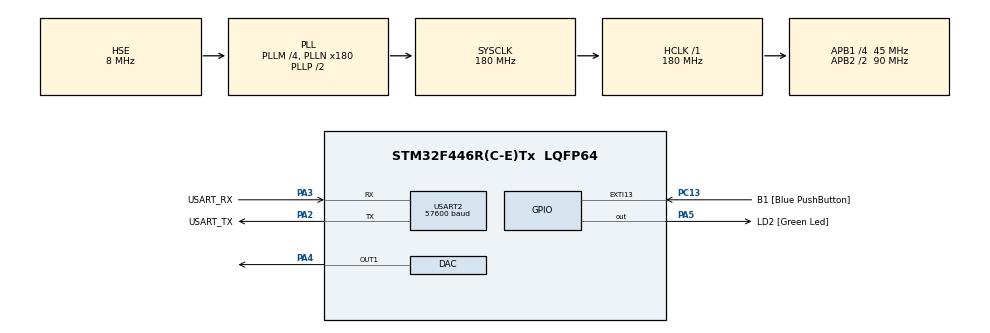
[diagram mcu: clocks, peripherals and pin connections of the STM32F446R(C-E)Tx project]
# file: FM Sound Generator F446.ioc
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DAC.DAC_OutputBuffer=DAC_OUTPUTBUFFER_DISABLE
DAC.DAC_Trigger=DAC_TRIGGER_T2_TRGO
Dma.DAC1.0.Direction=DMA_MEMORY_TO_PERIPH
Dma.DAC1.0.FIFOMode=DMA_FIFOMODE_DISABLE
Dma.DAC1.0.Instance=DMA1_Stream5
Dma.DAC1.0.MemDataAlignment=DMA_MDATAALIGN_HALFWORD
Dma.DAC1.0.MemInc=DMA_MINC_ENABLE
Dma.DAC1.0.Mode=DMA_CIRCULAR
Dma.DAC1.0.PeriphDataAlignment=DMA_PDATAALIGN_HALFWORD
Dma.DAC1.0.PeriphInc=DMA_PINC_DISABLE
Dma.DAC1.0.Priority=DMA_PRIORITY_HIGH
Dma.Request0=DAC1
Mcu.Family=STM32F4
Mcu.Name=STM32F446R(C-E)Tx
Mcu.Package=LQFP64
NVIC.DMA1_Stream5_IRQn=true\:0\:0\:false\:false\:true\:false\:true
NVIC.PriorityGroup=NVIC_PRIORITYGROUP_1
NVIC.TIM2_IRQn=true\:1\:0\:true\:false\:true\:true\:true
NVIC.TIM3_IRQn=true\:0\:0\:false\:false\:true\:true\:true
PA13.GPIO_Label=TMS
PA13.Mode=Serial_Wire
PA13.Signal=SYS_JTMS-SWDIO
PA14.GPIO_Label=TCK
PA14.Mode=Serial_Wire
PA14.Signal=SYS_JTCK-SWCLK
PA2.GPIO_Label=USART_TX
PA2.Mode=Asynchronous
PA2.Signal=USART2_TX
PA3.GPIO_Label=USART_RX
PA3.Mode=Asynchronous
PA3.Signal=USART2_RX
PA4.Signal=COMP_DAC1_group
PA5.GPIO_Label=LD2 [Green Led]
PA5.Signal=GPIO_Output
PB3.GPIO_Label=SWO
PB3.Signal=SYS_JTDO-SWO
PC13.GPIO_Label=B1 [Blue PushButton]
PC13.GPIO_ModeDefaultEXTI=GPIO_MODE_IT_FALLING
PC13.Signal=GPXTI13
PC14-OSC32_IN.Mode=LSE-External-Oscillator
PC14-OSC32_IN.Signal=RCC_OSC32_IN
PC15-OSC32_OUT.Mode=LSE-External-Oscillator
PC15-OSC32_OUT.Signal=RCC_OSC32_OUT
PH0-OSC_IN.Mode=HSE-External-Clock-Source
PH0-OSC_IN.Signal=RCC_OSC_IN
PH1-OSC_OUT.Mode=HSE-External-Clock-Source
PH1-OSC_OUT.Signal=RCC_OSC_OUT
ProjectManager.HeapSize=0x200
ProjectManager.StackSize=0x400
ProjectManager.TargetToolchain=STM32CubeIDE
RCC.48MHZClocksFreq_Value=84000000
RCC.AHBFreq_Value=180000000
RCC.APB1CLKDivider=RCC_HCLK_DIV4
RCC.APB1Freq_Value=45000000
RCC.APB1TimFreq_Value=90000000
RCC.APB2CLKDivider=RCC_HCLK_DIV2
RCC.APB2Freq_Value=90000000
RCC.APB2TimFreq_Value=180000000
RCC.CortexFreq_Value=180000000
RCC.FLatency-AdvancedSettings=FLASH_LATENCY_5
RCC.HCLKFreq_Value=180000000
RCC.HSE_VALUE=8000000
RCC.HSI_VALUE=16000000
RCC.PLLM=4
RCC.PLLN=180
RCC.PLLSourceVirtual=RCC_PLLSOURCE_HSE
RCC.SYSCLKFreq_VALUE=180000000
RCC.SYSCLKSource=RCC_SYSCLKSOURCE_PLLCLK
RCC.USBFreq_Value=180000000
RCC.VCOOutputFreq_Value=360000000
SH.COMP_DAC1_group.0=DAC_OUT1,DAC_OUT1
TIM2.AutoReloadPreload=TIM_AUTORELOAD_PRELOAD_ENABLE
TIM2.Period=50-1
TIM2.Prescaler=90-1
TIM2.TIM_MasterOutputTrigger=TIM_TRGO_UPDATE
TIM3.AutoReloadPreload=TIM_AUTORELOAD_PRELOAD_ENABLE
TIM3.Period=0xFFFF-1
TIM3.Prescaler=90-1
USART2.BaudRate=57600
USART2.VirtualMode=VM_ASYNC
VP_TIM2_VS_ClockSourceINT.Mode=Internal
VP_TIM3_VS_ClockSourceINT.Mode=Internal
board=NUCLEO-F446RE

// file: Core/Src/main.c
/* USER CODE BEGIN Header */
/**
  ******************************************************************************
  * @file           : main.c
  * @brief          : Main program body
  ******************************************************************************
  * @attention
  *
  * <h2><center>&copy; Copyright (c) 2020 STMicroelectronics.
  * All rights reserved.</center></h2>
  *
  * This software component is licensed by ST under BSD 3-Clause license,
  * the "License"; You may not use this file except in compliance with the
  * License. You may obtain a copy of the License at:
  *                        opensource.org/licenses/BSD-3-Clause
  *
  ******************************************************************************
  */
/* USER CODE END Header */

#include "main.h"

/* USER CODE BEGIN Includes */
#include <stdio.h>
#include <math.h>
#include "fm_algorism.h"
#include "com_command.h"

/* USER CODE END Includes */

DAC_HandleTypeDef hdac;
DMA_HandleTypeDef hdma_dac1;

TIM_HandleTypeDef htim2;
TIM_HandleTypeDef htim3;

UART_HandleTypeDef huart2;

/* USER CODE BEGIN PV */
volatile uint32_t count_over_interrupted = 0;
volatile uint32_t one = 1;
volatile uint16_t devide = 1800;
const float MAX_DAC_OUTPUT = 4095.f;

/* USER CODE END PV */

void SystemClock_Config(void);
static void MX_GPIO_Init(void);
static void MX_DMA_Init(void);
static void MX_USART2_UART_Init(void);
static void MX_DAC_Init(void);
static void MX_TIM2_Init(void);
static void MX_TIM3_Init(void);
/* USER CODE BEGIN PFP */

inline void processing_in_interrupt();
void initialize_fm_sound_controller();

/* USER CODE END PFP */

/* USER CODE BEGIN 0 */
volatile uint64_t get_system_count_in_us()
{
	uint64_t t = 0;
	__sync_synchronize();
	t = (count_over_interrupted * 0xFFFF) + TIM3->CNT;

	return t;
}

void HAL_TIM_PeriodElapsedCallback(TIM_HandleTypeDef *htim)
{
	if(htim->Instance == TIM2) {
		processing_in_interrupt();
//	    float d = calc_sin(1000);
//		devide = MAX_DAC_OUTPUT * (d)/2.f;
	}
	if(htim->Instance == TIM3) {
		__sync_fetch_and_add( &count_over_interrupted, one );
		__DSB();
	}
}

//printfのため
int _write(int file, char *ptr, int len)
{
  int DataIdx;
  for(DataIdx=0; DataIdx<len; DataIdx++)
  {
    ITM_SendChar(*ptr++);
  }
  return len;
}

/* USER CODE END 0 */

int main(void)
{

  /* MCU Configuration--------------------------------------------------------*/

  /* Reset of all peripherals, Initializes the Flash interface and the Systick. */
  HAL_Init();

  /* Configure the system clock */
  SystemClock_Config();

  /* Initialize all configured peripherals */
  MX_GPIO_Init();
  MX_DMA_Init();
  MX_USART2_UART_Init();
  MX_DAC_Init();
  MX_TIM2_Init();
  MX_TIM3_Init();
  /* USER CODE BEGIN 2 */

  //FM音源コントロール部分の初期化
  initialize_fm_sound_controller();

//  HAL_TIM_PWM_Start(&htim2, TIM_CHANNEL_1);
//  HAL_TIM_PWM_Start_DMA (&htim2, TIM_CHANNEL_1, (uint32_t*)&devide, 1);
//  htim2.State = HAL_TIM_STATE_READY;
//  HAL_DAC_Start(&hdac1, DAC_CHANNEL_1);
//  HAL_DAC_SetValue(&hdac1, DAC_CHANNEL_1, DAC_ALIGN_12B_R, devide);
//  HAL_TIM_Base_Start(&htim2);
//  HAL_TIM_Base_Start_IT(&htim2);

  //割り込みロジックスタート
  HAL_DAC_Start_DMA(&hdac, DAC_CHANNEL_1, (uint32_t *)&devide, 1, DAC_ALIGN_12B_R);
  HAL_TIM_Base_Start_IT(&htim2);
  HAL_TIM_Base_Start_IT(&htim3);

  /* USER CODE END 2 */

  /* Infinite loop */
  while (1)
  {

    /* USER CODE BEGIN 3 */
	  //	  cho_cho_for_8algor();
//	  	  cho_cho_for_8algor_command();
	  //	  float d = calc_sin(1000);
	  //	  devide = MAX_DAC_OUTPUT * (d + 1)/2.f;
	  music_data_receive();
  }
  /* USER CODE END 3 */
}

void SystemClock_Config(void)
{
  RCC_OscInitTypeDef RCC_OscInitStruct = {0};
  RCC_ClkInitTypeDef RCC_ClkInitStruct = {0};

  /** Configure the main internal regulator output voltage
  */
  __HAL_RCC_PWR_CLK_ENABLE();
  __HAL_PWR_VOLTAGESCALING_CONFIG(PWR_REGULATOR_VOLTAGE_SCALE1);
  /** Initializes the CPU, AHB and APB busses clocks
  */
  RCC_OscInitStruct.OscillatorType = RCC_OSCILLATORTYPE_HSE;
  RCC_OscInitStruct.HSEState = RCC_HSE_BYPASS;
  RCC_OscInitStruct.PLL.PLLState = RCC_PLL_ON;
  RCC_OscInitStruct.PLL.PLLSource = RCC_PLLSOURCE_HSE;
  RCC_OscInitStruct.PLL.PLLM = 4;
  RCC_OscInitStruct.PLL.PLLN = 180;
  RCC_OscInitStruct.PLL.PLLP = RCC_PLLP_DIV2;
  RCC_OscInitStruct.PLL.PLLQ = 2;
  RCC_OscInitStruct.PLL.PLLR = 2;
  if (HAL_RCC_OscConfig(&RCC_OscInitStruct) != HAL_OK)
  {
    Error_Handler();
  }
  /** Activate the Over-Drive mode
  */
  if (HAL_PWREx_EnableOverDrive() != HAL_OK)
  {
    Error_Handler();
  }
  /** Initializes the CPU, AHB and APB busses clocks
  */
  RCC_ClkInitStruct.ClockType = RCC_CLOCKTYPE_HCLK|RCC_CLOCKTYPE_SYSCLK
                              |RCC_CLOCKTYPE_PCLK1|RCC_CLOCKTYPE_PCLK2;
  RCC_ClkInitStruct.SYSCLKSource = RCC_SYSCLKSOURCE_PLLCLK;
  RCC_ClkInitStruct.AHBCLKDivider = RCC_SYSCLK_DIV1;
  RCC_ClkInitStruct.APB1CLKDivider = RCC_HCLK_DIV4;
  RCC_ClkInitStruct.APB2CLKDivider = RCC_HCLK_DIV2;

  if (HAL_RCC_ClockConfig(&RCC_ClkInitStruct, FLASH_LATENCY_5) != HAL_OK)
  {
    Error_Handler();
  }
}

static void MX_DAC_Init(void)
{

  DAC_ChannelConfTypeDef sConfig = {0};

  /** DAC Initialization
  */
  hdac.Instance = DAC;
  if (HAL_DAC_Init(&hdac) != HAL_OK)
  {
    Error_Handler();
  }
  /** DAC channel OUT1 config
  */
  sConfig.DAC_Trigger = DAC_TRIGGER_T2_TRGO;
  sConfig.DAC_OutputBuffer = DAC_OUTPUTBUFFER_DISABLE;
  if (HAL_DAC_ConfigChannel(&hdac, &sConfig, DAC_CHANNEL_1) != HAL_OK)
  {
    Error_Handler();
  }

}

static void MX_TIM2_Init(void)
{

  TIM_ClockConfigTypeDef sClockSourceConfig = {0};
  TIM_MasterConfigTypeDef sMasterConfig = {0};

  htim2.Instance = TIM2;
  htim2.Init.Prescaler = 90-1;
  htim2.Init.CounterMode = TIM_COUNTERMODE_UP;
  htim2.Init.Period = 50-1;
  htim2.Init.ClockDivision = TIM_CLOCKDIVISION_DIV1;
  htim2.Init.AutoReloadPreload = TIM_AUTORELOAD_PRELOAD_ENABLE;
  if (HAL_TIM_Base_Init(&htim2) != HAL_OK)
  {
    Error_Handler();
  }
  sClockSourceConfig.ClockSource = TIM_CLOCKSOURCE_INTERNAL;
  if (HAL_TIM_ConfigClockSource(&htim2, &sClockSourceConfig) != HAL_OK)
  {
    Error_Handler();
  }
  sMasterConfig.MasterOutputTrigger = TIM_TRGO_UPDATE;
  sMasterConfig.MasterSlaveMode = TIM_MASTERSLAVEMODE_DISABLE;
  if (HAL_TIMEx_MasterConfigSynchronization(&htim2, &sMasterConfig) != HAL_OK)
  {
    Error_Handler();
  }

}

static void MX_TIM3_Init(void)
{

  TIM_ClockConfigTypeDef sClockSourceConfig = {0};
  TIM_MasterConfigTypeDef sMasterConfig = {0};

  htim3.Instance = TIM3;
  htim3.Init.Prescaler = 90-1;
  htim3.Init.CounterMode = TIM_COUNTERMODE_UP;
  htim3.Init.Period = 0xFFFF-1;
  htim3.Init.ClockDivision = TIM_CLOCKDIVISION_DIV1;
  htim3.Init.AutoReloadPreload = TIM_AUTORELOAD_PRELOAD_ENABLE;
  if (HAL_TIM_Base_Init(&htim3) != HAL_OK)
  {
    Error_Handler();
  }
  sClockSourceConfig.ClockSource = TIM_CLOCKSOURCE_INTERNAL;
  if (HAL_TIM_ConfigClockSource(&htim3, &sClockSourceConfig) != HAL_OK)
  {
    Error_Handler();
  }
  sMasterConfig.MasterOutputTrigger = TIM_TRGO_RESET;
  sMasterConfig.MasterSlaveMode = TIM_MASTERSLAVEMODE_DISABLE;
  if (HAL_TIMEx_MasterConfigSynchronization(&htim3, &sMasterConfig) != HAL_OK)
  {
    Error_Handler();
  }

}

static void MX_USART2_UART_Init(void)
{

  huart2.Instance = USART2;
  huart2.Init.BaudRate = 57600;
  huart2.Init.WordLength = UART_WORDLENGTH_8B;
  huart2.Init.StopBits = UART_STOPBITS_1;
  huart2.Init.Parity = UART_PARITY_NONE;
  huart2.Init.Mode = UART_MODE_TX_RX;
  huart2.Init.HwFlowCtl = UART_HWCONTROL_NONE;
  huart2.Init.OverSampling = UART_OVERSAMPLING_16;
  if (HAL_UART_Init(&huart2) != HAL_OK)
  {
    Error_Handler();
  }

}

static void MX_DMA_Init(void)
{

  /* DMA controller clock enable */
  __HAL_RCC_DMA1_CLK_ENABLE();

  /* DMA interrupt init */
  /* DMA1_Stream5_IRQn interrupt configuration */
  HAL_NVIC_SetPriority(DMA1_Stream5_IRQn, 0, 0);
  HAL_NVIC_EnableIRQ(DMA1_Stream5_IRQn);

}

static void MX_GPIO_Init(void)
{
  GPIO_InitTypeDef GPIO_InitStruct = {0};

  /* GPIO Ports Clock Enable */
  __HAL_RCC_GPIOC_CLK_ENABLE();
  __HAL_RCC_GPIOH_CLK_ENABLE();
  __HAL_RCC_GPIOA_CLK_ENABLE();
  __HAL_RCC_GPIOB_CLK_ENABLE();

  /*Configure GPIO pin Output Level */
  HAL_GPIO_WritePin(LD2_GPIO_Port, LD2_Pin, GPIO_PIN_RESET);

  /*Configure GPIO pin : B1_Pin */
  GPIO_InitStruct.Pin = B1_Pin;
  GPIO_InitStruct.Mode = GPIO_MODE_IT_FALLING;
  GPIO_InitStruct.Pull = GPIO_NOPULL;
  HAL_GPIO_Init(B1_GPIO_Port, &GPIO_InitStruct);

  /*Configure GPIO pin : LD2_Pin */
  GPIO_InitStruct.Pin = LD2_Pin;
  GPIO_InitStruct.Mode = GPIO_MODE_OUTPUT_PP;
  GPIO_InitStruct.Pull = GPIO_NOPULL;
  GPIO_InitStruct.Speed = GPIO_SPEED_FREQ_LOW;
  HAL_GPIO_Init(LD2_GPIO_Port, &GPIO_InitStruct);

}

void Error_Handler(void)
{
}

/************************ (C) COPYRIGHT STMicroelectronics *****END OF FILE****/
